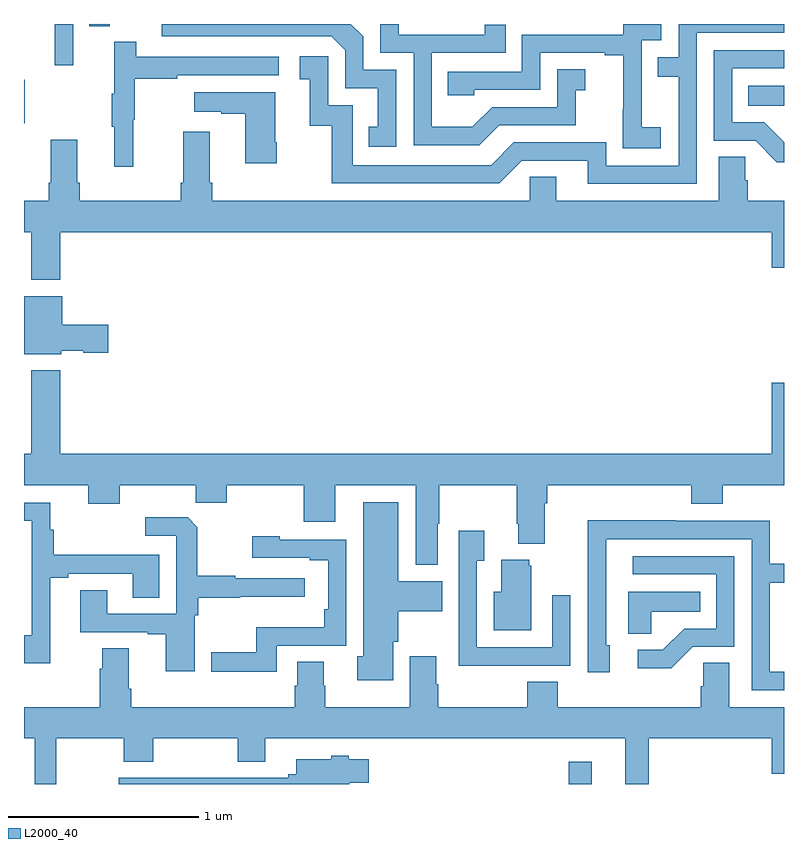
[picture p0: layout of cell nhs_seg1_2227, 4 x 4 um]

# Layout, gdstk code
import gdstk
lib = gdstk.Library(unit=1e-6, precision=1e-09)
def R(c, l, rs):  # rectangles x0, y0, x1, y1
    for r in rs: c.add(gdstk.rectangle(r[:2], r[2:], *l))
def P(c, l, *ps):  # polygons
    for p in ps: c.add(gdstk.Polygon(p, *l))
L2000_40 = (2000, 40)

nhs_seg1_2227 = lib.new_cell('nhs_seg1_2227')
R(nhs_seg1_2227, L2000_40, [(235.866,510.199,235.987,510.316), (233,513.676,233.004,513.906), (236.812,513.77,237,513.874), (233.162,513.981,233.259,514.199), (233.344,514.186,233.452,514.199)])
P(nhs_seg1_2227, L2000_40, [(236.35,513.655),(236.252,513.655),(236.252,513.884),(236.25,513.884),(236.25,514.113),(236.355,514.113),(236.355,514.199),(236.154,514.199),(236.154,514.143),(235.62,514.143),(235.62,513.948),(235.231,513.948),(235.231,513.825),(235.371,513.825),(235.371,513.852),(235.716,513.852),(235.716,514.047),(236.057,514.047),(236.057,514.035),(236.153,514.035),(236.153,513.751),(236.152,513.751),(236.152,513.545),(236.35,513.545)],
  [(236.541,514.152),(237,514.152),(237,514.199),(236.445,514.199),(236.445,514.023),(236.335,514.023),(236.335,513.922),(236.445,513.922),(236.445,513.453),(236.064,513.453),(236.064,513.576),(235.578,513.576),(235.458,513.456),(234.729,513.456),(234.729,513.771),(234.6,513.771),(234.6,514.03),(234.45,514.03),(234.45,513.909),(234.503,513.909),(234.503,513.663),(234.621,513.663),(234.621,513.36),(235.5,513.36),(235.62,513.48),(235.967,513.48),(235.967,513.357),(236.541,513.357)],
  [(235.501,513.666),(235.905,513.666),(235.905,513.851),(235.954,513.851),(235.954,513.961),(235.806,513.961),(235.806,513.762),(235.464,513.762),(235.36,513.658),(235.146,513.658),(235.146,514.047),(235.535,514.047),(235.535,514.195),(235.424,514.195),(235.424,514.143),(234.973,514.143),(234.973,514.199),(234.876,514.199),(234.876,514.047),(235.05,514.047),(235.05,513.561),(235.396,513.561)],
  [(234.96,513.957),(234.786,513.957),(234.786,514.134),(234.721,514.199),(233.724,514.199),(233.724,514.134),(234.618,514.134),(234.69,514.062),(234.69,513.861),(234.863,513.861),(234.863,513.657),(234.814,513.657),(234.814,513.552),(234.96,513.552)],
  [(233.576,513.696),(233.584,513.696),(233.584,513.91),(233.807,513.91),(233.807,513.93),(234.34,513.93),(234.34,514.026),(233.591,514.026),(233.591,514.105),(233.474,514.105),(233.474,513.833),(233.463,513.833),(233.463,513.659),(233.474,513.659),(233.474,513.447),(233.576,513.447)],
  [(237,513.577),(236.896,513.681),(236.727,513.681),(236.727,513.966),(237,513.966),(237,514.062),(236.631,514.062),(236.631,513.585),(236.85,513.585),(236.963,513.472),(237,513.472)],
  [(234.33,513.577),(234.322,513.577),(234.322,513.841),(233.895,513.841),(233.895,513.737),(234.038,513.737),(234.038,513.727),(234.164,513.727),(234.164,513.465),(234.33,513.465)],
  [(233.192,513.104),(236.936,513.104),(236.936,512.916),(237,512.916),(237,513.268),(236.81,513.268),(236.81,513.377),(236.796,513.377),(236.796,513.5),(236.657,513.5),(236.657,513.268),(235.801,513.268),(235.801,513.395),(235.662,513.395),(235.662,513.268),(233.99,513.268),(233.99,513.364),(233.977,513.364),(233.977,513.631),(233.837,513.631),(233.837,513.364),(233.825,513.364),(233.825,513.268),(233.294,513.268),(233.294,513.364),(233.281,513.364),(233.281,513.589),(233.141,513.589),(233.141,513.364),(233.129,513.364),(233.129,513.268),(233,513.268),(233,513.104),(233.039,513.104),(233.039,512.852),(233.192,512.852)],
  [(233.196,512.48),(233.313,512.48),(233.313,512.468),(233.443,512.468),(233.443,512.615),(233.2,512.615),(233.2,512.767),(233,512.767),(233,512.462),(233.196,512.462)],
  [(233.192,512.377),(233.039,512.377),(233.039,511.936),(233,511.936),(233,511.772),(233.339,511.772),(233.339,511.673),(233.503,511.673),(233.503,511.772),(233.903,511.772),(233.903,511.679),(234.067,511.679),(234.067,511.772),(234.473,511.772),(234.473,511.578),(234.637,511.578),(234.637,511.772),(235.061,511.772),(235.061,511.352),(235.177,511.352),(235.177,511.568),(235.185,511.568),(235.185,511.772),(235.594,511.772),(235.594,511.57),(235.601,511.57),(235.601,511.463),(235.741,511.463),(235.741,511.676),(235.754,511.676),(235.754,511.772),(236.513,511.772),(236.513,511.673),(236.678,511.673),(236.678,511.772),(237,511.772),(237,512.311),(236.936,512.311),(236.936,511.936),(233.192,511.936)],
  [(234.943,510.948),(234.97,510.948),(234.97,511.109),(235.201,511.109),(235.201,511.267),(234.97,511.267),(234.97,511.681),(234.785,511.681),(234.785,510.872),(234.755,510.872),(234.755,510.746),(234.943,510.746)],
  [(233.137,511.285),(233.233,511.285),(233.233,511.305),(233.573,511.305),(233.573,511.18),(233.713,511.18),(233.713,511.406),(233.156,511.406),(233.156,511.538),(233.138,511.538),(233.138,511.68),(233,511.68),(233,511.584),(233.04,511.584),(233.04,510.982),(233,510.982),(233,510.834),(233.137,510.834)],
  [(233.898,511.088),(233.918,511.088),(233.918,511.18),(234.137,511.18),(234.137,511.184),(234.478,511.184),(234.478,511.281),(234.113,511.281),(234.113,511.294),(233.913,511.294),(233.913,511.551),(233.861,511.603),(233.637,511.603),(233.637,511.506),(233.802,511.506),(233.802,511.095),(233.437,511.095),(233.437,511.22),(233.297,511.22),(233.297,510.999),(233.651,510.999),(233.651,510.987),(233.747,510.987),(233.747,510.792),(233.898,510.792)],
  [(237,510.789),(236.925,510.789),(236.925,511.258),(237,511.258),(237,511.359),(236.925,511.359),(236.925,511.584),(236.429,511.584),(236.429,511.586),(235.966,511.586),(235.966,511.279),(235.968,511.279),(235.968,510.786),(236.083,510.786),(236.083,510.93),(236.064,510.93),(236.064,511.488),(236.829,511.488),(236.829,510.693),(237,510.693)],
  [(235.559,510.822),(235.875,510.822),(235.875,511.192),(235.779,511.192),(235.779,510.918),(235.383,510.918),(235.383,511.375),(235.423,511.375),(235.423,511.531),(235.287,511.531),(235.287,510.821),(235.559,510.821)],
  [(234.33,510.927),(234.696,510.927),(234.696,511.485),(234.345,511.485),(234.345,511.504),(234.201,511.504),(234.201,511.389),(234.503,511.389),(234.503,511.377),(234.6,511.377),(234.6,511.12),(234.58,511.12),(234.58,511.024),(234.222,511.024),(234.222,510.893),(233.985,510.893),(233.985,510.791),(234.33,510.791)],
  [(236.52,510.921),(236.739,510.921),(236.739,511.398),(236.205,511.398),(236.205,511.302),(236.643,511.302),(236.643,511.017),(236.474,511.017),(236.363,510.906),(236.229,510.906),(236.229,510.809),(236.407,510.809)],
  [(235.669,511.347),(235.658,511.347),(235.658,511.378),(235.511,511.378),(235.511,511.21),(235.472,511.21),(235.472,511.007),(235.669,511.007)],
  [(236.301,511.106),(236.558,511.106),(236.558,511.21),(236.18,511.21),(236.18,510.991),(236.301,510.991)],
  [(236.165,510.199),(236.287,510.199),(236.287,510.44),(236.936,510.44),(236.936,510.252),(237,510.252),(237,510.604),(236.713,510.604),(236.713,510.836),(236.574,510.836),(236.574,510.713),(236.561,510.713),(236.561,510.604),(235.808,510.604),(235.808,510.737),(235.648,510.737),(235.648,510.604),(235.179,510.604),(235.179,510.725),(235.171,510.725),(235.171,510.871),(235.031,510.871),(235.031,510.604),(234.585,510.604),(234.585,510.717),(234.577,510.717),(234.577,510.842),(234.437,510.842),(234.437,510.717),(234.425,510.717),(234.425,510.604),(233.564,510.604),(233.564,510.7),(233.551,510.7),(233.551,510.914),(233.411,510.914),(233.411,510.806),(233.399,510.806),(233.399,510.604),(233,510.604),(233,510.44),(233.057,510.44),(233.057,510.199),(233.171,510.199),(233.171,510.44),(233.524,510.44),(233.524,510.316),(233.679,510.316),(233.679,510.44),(234.124,510.44),(234.124,510.316),(234.271,510.316),(234.271,510.44),(236.165,510.44)],
  [(234.712,510.206),(234.814,510.206),(234.814,510.328),(234.708,510.328),(234.708,510.349),(234.618,510.349),(234.618,510.328),(234.434,510.328),(234.434,510.25),(234.39,510.25),(234.39,510.231),(233.973,510.231),(233.973,510.233),(233.741,510.233),(233.741,510.231),(233.499,510.231),(233.499,510.199),(234.712,510.199)])

lib.write_gds('nhs_seg1_2227.gds')
